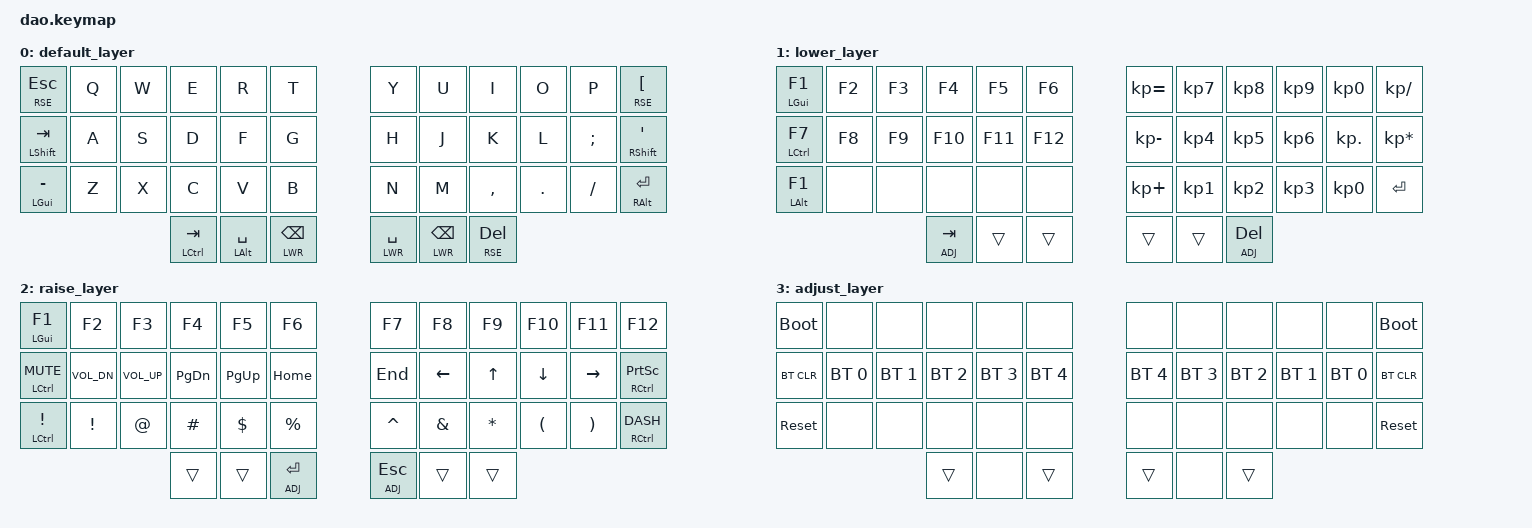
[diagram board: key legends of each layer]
/*
 * Copyright (c) 2021 Rafael Yumagulov
 *
 * SPDX-License-Identifier: MIT
 */

#include <behaviors.dtsi>
#include <dt-bindings/zmk/keys.h>
#include <dt-bindings/zmk/bt.h>

#define DEF 0
#define LWR 1
#define RSE 2
#define ADJ 3

&lt { quick_tap_ms = <200>; };
&mt { quick_tap_ms = <200>; };

/ {
    chosen {
        zmk,matrix_transform = &default_transform;
        // zmk,matrix_transform = &extra_keys_transform;
    };
};

/ {
        keymap {
                compatible = "zmk,keymap";

                default_layer {
                        bindings = <
          &mt RSE ESC     &kp Q   &kp W   &kp E         &kp R             &kp T         &kp Y         &kp U            &kp I         &kp O     &kp P      &mt RSE LBKT       
          &mt LSHFT TAB   &kp A   &kp S   &kp D         &kp F             &kp G         &kp H         &kp J            &kp K         &kp L     &kp SEMI   &mt RSHFT SQT
          &mt LGUI MINUS  &kp Z   &kp X   &kp C         &kp V             &kp B         &kp N         &kp M            &kp COMMA     &kp DOT   &kp FSLH   &mt RALT RET
                                        &mt LCTRL TAB   &mt LALT SPACE    &lt LWR BSPC  &lt LWR SPACE   &lt LWR BSPC   &lt RSE DEL
                        >;
                };
                lower_layer {
                        bindings = <
          &mt LGUI F1      &kp F2     &kp F3   &kp F4        &kp F5     &kp F6      &kp KP_EQUAL   &kp KP_N7     &kp KP_N8    &kp KP_N9     &kp KP_N0     &kp KP_SLASH           
          &mt LCTRL F7     &kp F8     &kp F9   &kp F10       &kp F11    &kp F12     &kp KP_MINUS   &kp KP_N4     &kp KP_N5    &kp KP_N6     &kp KP_DOT    &kp KP_MULTIPLY 
          &mt LALT F1      &none      &none    &none         &none      &none       &kp KP_PLUS    &kp KP_N1     &kp KP_N2    &kp KP_N3     &kp KP_N0     &kp RET
                                               &lt ADJ TAB   &trans     &trans      &trans      &trans     &lt ADJ DEL
                        >;
                };
                raise_layer {
                        bindings = <
          &mt LGUI F1       &kp F2        &kp F3           &kp F4        &kp F5     &kp F6         &kp F7       &kp F8     &kp F9      &kp F10    &kp F11    &kp F12            
          &mt LCTRL C_MUTE  &kp C_VOL_DN  &kp C_VOL_UP     &kp PG_DN     &kp PG_UP  &kp HOME       &kp END      &kp LEFT   &kp UP      &kp DOWN   &kp RIGHT  &mt RCTRL PSCRN
          &mt LCTRL EXCL    &kp EXCL      &kp AT           &kp HASH      &kp DLLR   &kp PRCNT      &kp CARET    &kp AMPS   &kp STAR    &kp LPAR   &kp RPAR   &mt RCTRL DASH
                                                           &trans        &trans     &lt ADJ RET    &lt ADJ ESC  &trans     &trans
                        >;
                };
                adjust_layer {
                        bindings = <
 &bootloader   &none          &none          &none          &none          &none          &none          &none          &none          &none          &none          &bootloader
 &bt BT_CLR    &bt BT_SEL 0   &bt BT_SEL 1   &bt BT_SEL 2   &bt BT_SEL 3   &bt BT_SEL 4   &bt BT_SEL 4   &bt BT_SEL 3   &bt BT_SEL 2   &bt BT_SEL 1   &bt BT_SEL 0   &bt BT_CLR
 &sys_reset        &none          &none          &none          &none          &none          &none          &none          &none          &none          &none          &sys_reset
                                             &trans         &none          &trans         &trans         &none          &trans
                        >;
                };
        };
};






